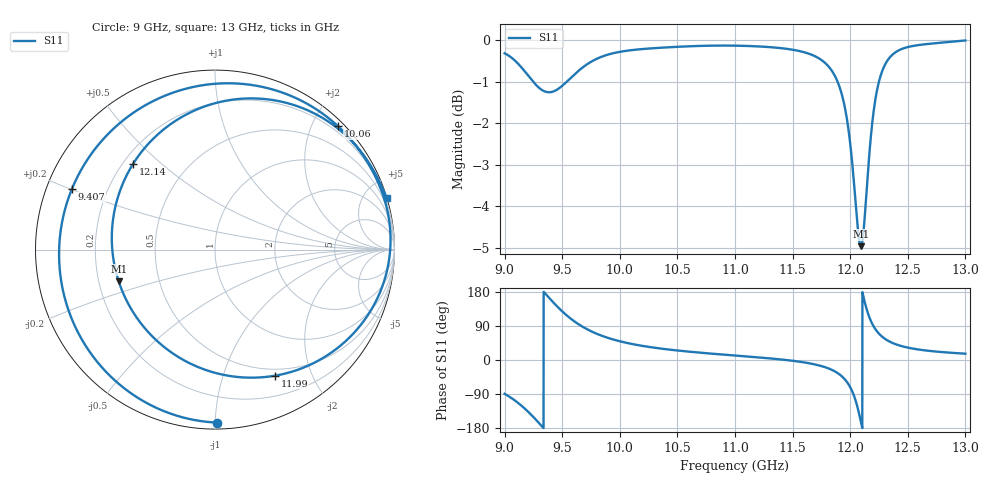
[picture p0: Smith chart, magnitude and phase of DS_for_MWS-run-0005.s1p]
! TOUCHSTONE file generated by CST DESIGN STUDIO
! Date and time: Wed Feb  5 13:19:36 2025
! Project name: C:\Work\MatlabApps\UnitCellOptimizationMatlab\CST\unitcell.cst
! Tree item: Tasks\Sweep1\SPara1\S-Parameters
! Header version: 2024
! Port assignment regex: !\s*Touchstone port\s*([0-9]+)\s*=\s*(CST MWS port|CST DES external port|CST DES block port)\s*(.+)\s* \(\"(.*)\"\)(\s*mode\s*([0-9]+))?.*
! Touchstone port assignment:
! Touchstone port 1 = CST DES external port 1 ("")
# GHz S MA R 50
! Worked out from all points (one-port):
!   4001 points, 9 GHz to 13 GHz, reference 50 ohm
!   lowest |S11| = -5.0 dB at 12.09 GHz (marker M1), VSWR 3.60, Z = 14.2 - j7.42 ohm
!   |S11| at or under -10 dB: nowhere
!   S11 on the Smith chart (normalised r, x): 9 GHz: 0.04, -1.01; 9.407 GHz: 0.07, +0.20; 10.06 GHz: 0.10, +2.41; 11.99 GHz: 0.42, -1.51; 12.14 GHz: 0.24, +0.41; 13 GHz: 0.03, +6.84
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9  0.9639 -89.2
9.097  0.9425 -108.6
9.184  0.9136 -130.7
9.301  0.8755 -167.2
9.407  0.8659 157.1
9.5  0.8809 128.4
9.584  0.9031 106.8
9.68  0.9274 87.3
9.829  0.9532 65.7
10  0.9678 49.4
10.061  0.9707 45.1
10.5  0.9814 25.1
11  0.9845 11.8
11.5  0.9735 -2.0
11.835  0.9207 -25.2
11.921  0.8662 -41.4
11.986  0.7787 -64.4
12  0.751 -71.7
12.048  0.6343 -108.0
12.092  0.5649 -161.7
12.117  0.5913 164.2
12.143  0.6601 133.9
12.171  0.7429 109.1
12.201  0.8156 90.0
12.289  0.9257 58.7
12.376  0.9626 43.8
12.5  0.9807 32.7
13  0.9988 16.6
